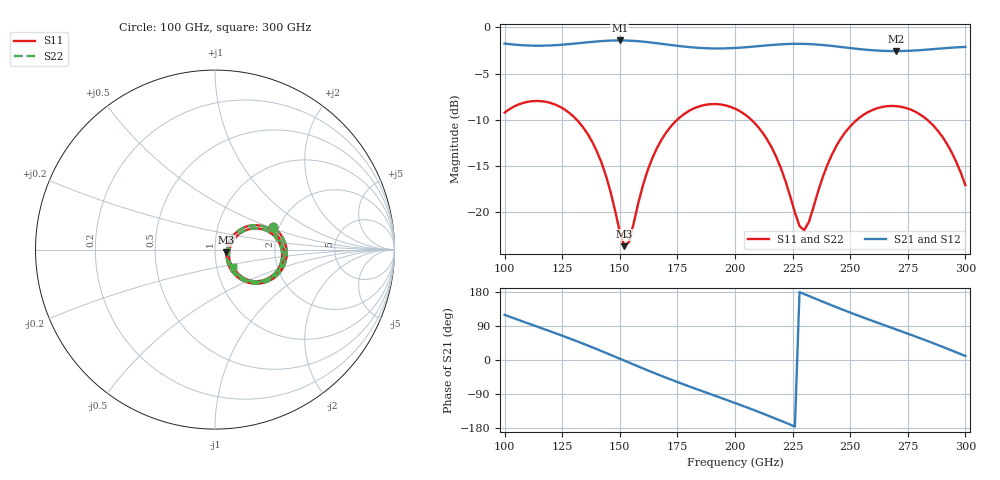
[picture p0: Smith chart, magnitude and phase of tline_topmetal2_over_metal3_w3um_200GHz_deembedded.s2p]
! Created with skrf 2.2.0 (http://scikit-rf.org).
# GHz S DB R 50.0
! Port[1] = P1
! Port[2] = P2
!freq dBS11 angS11 dBS21 angS21 dBS12 angS12 dBS22 angS22
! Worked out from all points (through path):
!   101 points, 100 GHz to 300 GHz, reference 50 ohm
!   highest |S21| = -1.41 dB at 150 GHz (marker M1); lowest = -2.6 dB at 270 GHz (marker M2)
!   group delay of S21, straight-line fit = 6.55 ps
!   lowest |S11| = -23.6 dB at 152 GHz (marker M3), VSWR 1.14, Z = 56.8 - j1.79 ohm
!   |S11| at or under -10 dB: 131.4 GHz to 174.8 GHz (43.46 GHz wide, 28.4 % of centre); 207.1 GHz to 252.9 GHz (45.72 GHz wide, 19.9 % of centre); 283.5 GHz to end of sweep
!   |S22| runs from -23.6 to -7.9 dB; largest |S21 - S12| = 1.3e-13
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100  -9.20 21.0  -1.74 119.2  -1.74 119.2  -9.21 21.1
118  -8.04 -12.2  -1.96 79.7  -1.96 79.7  -8.05 -12.1
134  -10.77 -41.0  -1.65 43.3  -1.65 43.3  -10.78 -41.0
142  -14.58 -51.5  -1.48 23.7  -1.48 23.7  -14.58 -51.3
150  -22.08 -34.7  -1.41 3.4  -1.41 3.4  -22.06 -34.4
152  -23.64 -13.8  -1.41 -1.7  -1.41 -1.7  -23.60 -13.7
154  -23.18 10.7  -1.43 -6.8  -1.43 -6.8  -23.13 10.7
162  -15.52 39.0  -1.58 -27.0  -1.58 -27.0  -15.51 38.9
168  -12.18 33.3  -1.76 -41.7  -1.76 -41.7  -12.18 33.2
184  -8.57 6.5  -2.20 -78.3  -2.20 -78.3  -8.57 6.4
200  -8.78 -21.7  -2.22 -113.5  -2.22 -113.5  -8.78 -21.8
216  -13.01 -45.9  -1.90 -150.8  -1.90 -150.8  -13.03 -46.2
228  -21.45 -22.6  -1.77 179.3  -1.77 179.3  -21.57 -22.9
230  -21.92 -4.5  -1.78 174.2  -1.78 174.2  -22.05 -4.4
234  -19.48 23.9  -1.82 164.1  -1.82 164.1  -19.55 24.3
240  -14.92 33.0  -1.94 149.1  -1.94 149.1  -14.94 33.3
248  -11.29 25.4  -2.17 129.9  -2.17 129.9  -11.30 25.6
258  -9.12 9.7  -2.43 107.0  -2.43 107.0  -9.13 9.7
268  -8.48 -7.3  -2.55 84.9  -2.55 84.9  -8.49 -7.3
270  -8.50 -10.7  -2.55 80.5  -2.55 80.5  -8.51 -10.7
288  -11.15 -39.4  -2.30 39.7  -2.30 39.7  -11.17 -39.6
300  -17.04 -43.4  -2.11 10.5  -2.11 10.5  -17.14 -44.0
